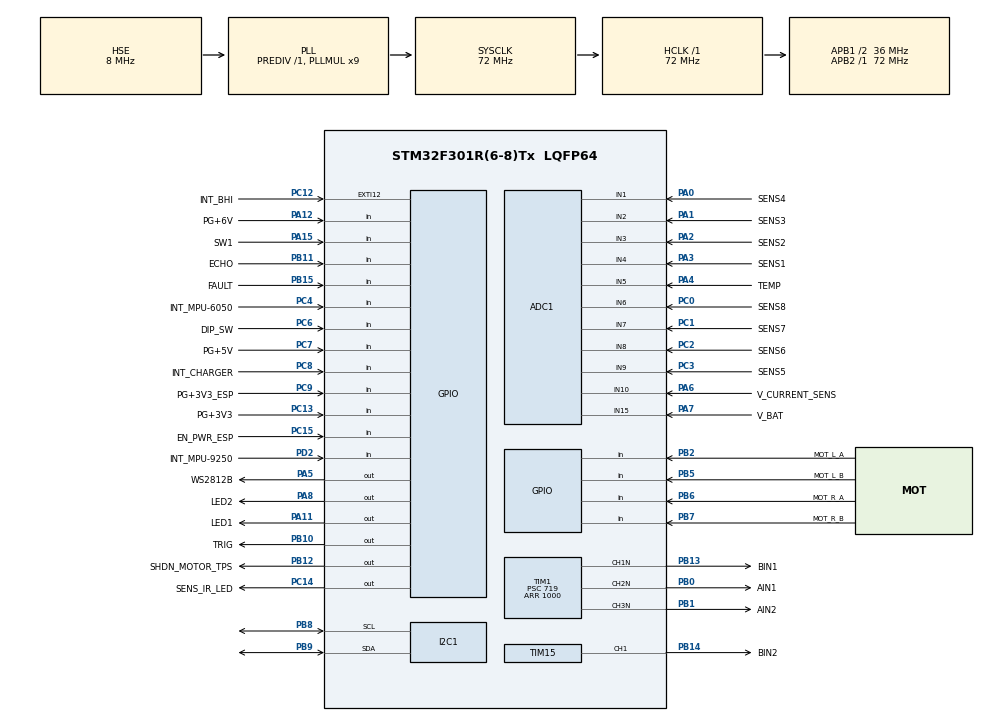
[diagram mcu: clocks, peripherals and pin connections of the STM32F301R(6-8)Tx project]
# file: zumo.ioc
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ADC1.Channel-0\#ChannelRegularConversion=ADC_CHANNEL_4
ADC1.Channel-10\#ChannelRegularConversion=ADC_CHANNEL_10
ADC1.Channel-11\#ChannelRegularConversion=ADC_CHANNEL_15
ADC1.Channel-2\#ChannelRegularConversion=ADC_CHANNEL_3
ADC1.Channel-3\#ChannelRegularConversion=ADC_CHANNEL_2
ADC1.Channel-4\#ChannelRegularConversion=ADC_CHANNEL_1
ADC1.Channel-5\#ChannelRegularConversion=ADC_CHANNEL_9
ADC1.Channel-6\#ChannelRegularConversion=ADC_CHANNEL_8
ADC1.Channel-7\#ChannelRegularConversion=ADC_CHANNEL_7
ADC1.Channel-8\#ChannelRegularConversion=ADC_CHANNEL_6
ADC1.Channel-9\#ChannelRegularConversion=ADC_CHANNEL_5
ADC1.ContinuousConvMode=ENABLE
ADC1.EOCSelection=ADC_EOC_SEQ_CONV
ADC1.InjNumberOfConversion=1
ADC1.InjectedChannel-1\#ChannelInjectedConversion=ADC_CHANNEL_1
ADC1.InjectedOffset-1\#ChannelInjectedConversion=0
ADC1.InjectedOffsetNumber-1\#ChannelInjectedConversion=ADC_OFFSET_NONE
ADC1.InjectedRank-1\#ChannelInjectedConversion=1
ADC1.InjectedSamplingTime-1\#ChannelInjectedConversion=ADC_SAMPLETIME_1CYCLE_5
ADC1.NbrOfConversion=11
ADC1.NbrOfConversionFlag=1
ADC1.Offset-0\#ChannelRegularConversion=0
ADC1.Offset-10\#ChannelRegularConversion=0
ADC1.Offset-11\#ChannelRegularConversion=0
ADC1.Offset-2\#ChannelRegularConversion=0
ADC1.Offset-3\#ChannelRegularConversion=0
ADC1.Offset-4\#ChannelRegularConversion=0
ADC1.Offset-5\#ChannelRegularConversion=0
ADC1.Offset-6\#ChannelRegularConversion=0
ADC1.Offset-7\#ChannelRegularConversion=0
ADC1.Offset-8\#ChannelRegularConversion=0
ADC1.Offset-9\#ChannelRegularConversion=0
ADC1.OffsetNumber-0\#ChannelRegularConversion=ADC_OFFSET_NONE
ADC1.OffsetNumber-10\#ChannelRegularConversion=ADC_OFFSET_NONE
ADC1.OffsetNumber-11\#ChannelRegularConversion=ADC_OFFSET_NONE
ADC1.OffsetNumber-2\#ChannelRegularConversion=ADC_OFFSET_NONE
ADC1.OffsetNumber-3\#ChannelRegularConversion=ADC_OFFSET_NONE
ADC1.OffsetNumber-4\#ChannelRegularConversion=ADC_OFFSET_NONE
ADC1.OffsetNumber-5\#ChannelRegularConversion=ADC_OFFSET_NONE
ADC1.OffsetNumber-6\#ChannelRegularConversion=ADC_OFFSET_NONE
ADC1.OffsetNumber-7\#ChannelRegularConversion=ADC_OFFSET_NONE
ADC1.OffsetNumber-8\#ChannelRegularConversion=ADC_OFFSET_NONE
ADC1.OffsetNumber-9\#ChannelRegularConversion=ADC_OFFSET_NONE
ADC1.Rank-0\#ChannelRegularConversion=1
ADC1.Rank-10\#ChannelRegularConversion=10
ADC1.Rank-11\#ChannelRegularConversion=11
ADC1.Rank-2\#ChannelRegularConversion=2
ADC1.Rank-3\#ChannelRegularConversion=3
ADC1.Rank-4\#ChannelRegularConversion=4
ADC1.Rank-5\#ChannelRegularConversion=5
ADC1.Rank-6\#ChannelRegularConversion=6
ADC1.Rank-7\#ChannelRegularConversion=7
ADC1.Rank-8\#ChannelRegularConversion=8
ADC1.Rank-9\#ChannelRegularConversion=9
ADC1.SamplingTime-0\#ChannelRegularConversion=ADC_SAMPLETIME_181CYCLES_5
ADC1.SamplingTime-10\#ChannelRegularConversion=ADC_SAMPLETIME_181CYCLES_5
ADC1.SamplingTime-11\#ChannelRegularConversion=ADC_SAMPLETIME_181CYCLES_5
ADC1.SamplingTime-2\#ChannelRegularConversion=ADC_SAMPLETIME_181CYCLES_5
ADC1.SamplingTime-3\#ChannelRegularConversion=ADC_SAMPLETIME_181CYCLES_5
ADC1.SamplingTime-4\#ChannelRegularConversion=ADC_SAMPLETIME_181CYCLES_5
ADC1.SamplingTime-5\#ChannelRegularConversion=ADC_SAMPLETIME_181CYCLES_5
ADC1.SamplingTime-6\#ChannelRegularConversion=ADC_SAMPLETIME_181CYCLES_5
ADC1.SamplingTime-7\#ChannelRegularConversion=ADC_SAMPLETIME_181CYCLES_5
ADC1.SamplingTime-8\#ChannelRegularConversion=ADC_SAMPLETIME_181CYCLES_5
ADC1.SamplingTime-9\#ChannelRegularConversion=ADC_SAMPLETIME_181CYCLES_5
ADC1.SubFamily=STM32F301x8
ADC1.master=1
Dma.ADC1.0.Direction=DMA_PERIPH_TO_MEMORY
Dma.ADC1.0.Instance=DMA1_Channel1
Dma.ADC1.0.MemDataAlignment=DMA_MDATAALIGN_HALFWORD
Dma.ADC1.0.MemInc=DMA_MINC_ENABLE
Dma.ADC1.0.Mode=DMA_CIRCULAR
Dma.ADC1.0.PeriphDataAlignment=DMA_PDATAALIGN_HALFWORD
Dma.ADC1.0.PeriphInc=DMA_PINC_DISABLE
Dma.ADC1.0.Priority=DMA_PRIORITY_LOW
Dma.Request0=ADC1
Mcu.Family=STM32F3
Mcu.Name=STM32F301R(6-8)Tx
Mcu.Package=LQFP64
NVIC.DMA1_Channel1_IRQn=true\:0\:0\:false\:false\:true\:false\:true
NVIC.EXTI15_10_IRQn=true\:0\:0\:false\:false\:true\:true\:true
NVIC.PriorityGroup=NVIC_PRIORITYGROUP_4
NVIC.TIM2_IRQn=true\:0\:0\:false\:false\:true\:true\:true
PA0.GPIO_Label=SENS4
PA0.Mode=IN1-Single-Ended
PA0.Signal=ADC1_IN1
PA1.GPIO_Label=SENS3
PA1.Mode=IN2-Single-Ended
PA1.Signal=ADC1_IN2
PA11.GPIO_Label=LED1
PA11.Signal=GPIO_Output
PA12.GPIO_Label=PG+6V
PA12.Signal=GPIO_Input
PA13.Mode=Serial_Wire
PA13.Signal=SYS_JTMS-SWDIO
PA14.Mode=Serial_Wire
PA14.Signal=SYS_JTCK-SWCLK
PA15.GPIO_Label=SW1
PA15.Signal=GPIO_Input
PA2.GPIO_Label=SENS2
PA2.Mode=IN3-Single-Ended
PA2.Signal=ADC1_IN3
PA3.GPIO_Label=SENS1
PA3.Mode=IN4-Single-Ended
PA3.Signal=ADC1_IN4
PA4.GPIO_Label=TEMP
PA4.Mode=IN5-Single-Ended
PA4.Signal=ADC1_IN5
PA5.GPIO_Label=WS2812B
PA5.Signal=GPIO_Output
PA6.GPIO_Label=V_CURRENT_SENS
PA6.Signal=ADCx_IN10
PA7.GPIO_Label=V_BAT
PA7.Mode=IN15-Single-Ended
PA7.Signal=ADC1_IN15
PA8.GPIO_Label=LED2
PA8.Signal=GPIO_Output
PB0.GPIO_Label=AIN1
PB0.Mode=PWM Generation2 CH2N
PB0.Signal=TIM1_CH2N
PB1.GPIO_Label=AIN2
PB1.Mode=PWM Generation3 CH3N
PB1.Signal=TIM1_CH3N
PB10.GPIO_Label=TRIG
PB10.Signal=GPIO_Output
PB11.GPIO_Label=ECHO
PB11.Signal=GPIO_Input
PB12.GPIO_Label=SHDN_MOTOR_TPS
PB12.Signal=GPIO_Output
PB13.GPIO_Label=BIN1
PB13.Mode=PWM Generation1 CH1N
PB13.Signal=TIM1_CH1N
PB14.GPIO_Label=BIN2
PB14.Signal=S_TIM15_CH1
PB15.GPIO_Label=FAULT
PB15.Signal=GPIO_Input
PB2.GPIO_Label=MOT_L_A
PB2.Signal=GPIO_Input
PB5.GPIO_Label=MOT_L_B
PB5.Signal=GPIO_Input
PB6.GPIO_Label=MOT_R_A
PB6.Signal=GPIO_Input
PB7.GPIO_Label=MOT_R_B
PB7.Signal=GPIO_Input
PB8.Mode=I2C
PB8.Signal=I2C1_SCL
PB9.Mode=I2C
PB9.Signal=I2C1_SDA
PC0.GPIO_Label=SENS8
PC0.Signal=ADCx_IN6
PC1.GPIO_Label=SENS7
PC1.Signal=ADCx_IN7
PC12.GPIO_Label=INT_BHI
PC12.GPIO_ModeDefaultEXTI=GPIO_MODE_IT_RISING
PC12.GPIO_PuPd=GPIO_PULLUP
PC12.Signal=GPXTI12
PC13.GPIO_Label=PG+3V3
PC13.Signal=GPIO_Input
PC14\ -\ OSC32_IN.GPIO_Label=SENS_IR_LED
PC14\ -\ OSC32_IN.Signal=GPIO_Output
PC15\ -\ OSC32_OUT.GPIO_Label=EN_PWR_ESP
PC15\ -\ OSC32_OUT.Signal=GPIO_Input
PC2.GPIO_Label=SENS6
PC2.Signal=ADCx_IN8
PC3.GPIO_Label=SENS5
PC3.Signal=ADCx_IN9
PC4.GPIO_Label=INT_MPU-6050
PC4.Signal=GPIO_Input
PC6.GPIO_Label=DIP_SW
PC6.Signal=GPIO_Input
PC7.GPIO_Label=PG+5V
PC7.Signal=GPIO_Input
PC8.GPIO_Label=INT_CHARGER
PC8.Signal=GPIO_Input
PC9.GPIO_Label=PG+3V3_ESP
PC9.Signal=GPIO_Input
PD2.GPIO_Label=INT_MPU-9250
PD2.Signal=GPIO_Input
PF0-OSC_IN.Mode=HSE-External-Oscillator
PF0-OSC_IN.Signal=RCC_OSC_IN
PF1-OSC_OUT.Mode=HSE-External-Oscillator
PF1-OSC_OUT.Signal=RCC_OSC_OUT
ProjectManager.HeapSize=0x400
ProjectManager.StackSize=0x800
ProjectManager.TargetToolchain=Makefile
RCC.AHBFreq_Value=72000000
RCC.APB1CLKDivider=RCC_HCLK_DIV2
RCC.APB1Freq_Value=36000000
RCC.APB1TimFreq_Value=72000000
RCC.APB2Freq_Value=72000000
RCC.APB2TimFreq_Value=72000000
RCC.CortexFreq_Value=72000000
RCC.HCLKFreq_Value=72000000
RCC.HSE_VALUE=8000000
RCC.HSI_VALUE=8000000
RCC.LSE_VALUE=32768
RCC.PLLMUL=RCC_PLL_MUL9
RCC.PLLSourceVirtual=RCC_PLLSOURCE_HSE
RCC.SYSCLKFreq_VALUE=72000000
RCC.SYSCLKSourceVirtual=RCC_SYSCLKSOURCE_PLLCLK
SH.ADCx_IN10.0=ADC1_IN10,IN10-Single-Ended
SH.ADCx_IN6.0=ADC1_IN6,IN6-Single-Ended
SH.ADCx_IN7.0=ADC1_IN7,IN7-Single-Ended
SH.ADCx_IN8.0=ADC1_IN8,IN8-Single-Ended
SH.ADCx_IN9.0=ADC1_IN9,IN9-Single-Ended
SH.S_TIM15_CH1.0=TIM15_CH1,PWM Generation1 CH1
TIM1.Channel-PWM\ Generation1\ CH1N=TIM_CHANNEL_1
TIM1.Channel-PWM\ Generation2\ CH2N=TIM_CHANNEL_2
TIM1.Channel-PWM\ Generation3\ CH3N=TIM_CHANNEL_3
TIM1.Period=1000
TIM1.Prescaler=719
TIM15.Channel-PWM\ Generation1\ CH1=TIM_CHANNEL_1
TIM15.Period=1000
TIM15.Prescaler=719
TIM2.Period=99
TIM2.Prescaler=71
VP_TIM15_VS_ClockSourceINT.Mode=Internal
VP_TIM1_VS_ClockSourceINT.Mode=Internal
VP_TIM2_VS_ClockSourceINT.Mode=Internal
board=custom

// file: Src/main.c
/* USER CODE BEGIN Header */
/**
  ******************************************************************************
  * @file           : main.c
  * @brief          : Main program body
  ******************************************************************************
  * @attention
  *
  * <h2><center>&copy; Copyright (c) 2020 STMicroelectronics.
  * All rights reserved.</center></h2>
  *
  * This software component is licensed by ST under BSD 3-Clause license,
  * the "License"; You may not use this file except in compliance with the
  * License. You may obtain a copy of the License at:
  *                        opensource.org/licenses/BSD-3-Clause
  *
  ******************************************************************************
  */
/* USER CODE END Header */

#include "main.h"

ADC_HandleTypeDef hadc1;
DMA_HandleTypeDef hdma_adc1;

I2C_HandleTypeDef hi2c1;

TIM_HandleTypeDef htim1;
TIM_HandleTypeDef htim2;
TIM_HandleTypeDef htim15;

void SystemClock_Config(void);
static void MX_GPIO_Init(void);
static void MX_DMA_Init(void);
static void MX_ADC1_Init(void);
static void MX_TIM1_Init(void);
static void MX_I2C1_Init(void);
static void MX_TIM15_Init(void);
static void MX_TIM2_Init(void);

int main(void)
{

  /* MCU Configuration--------------------------------------------------------*/

  /* Reset of all peripherals, Initializes the Flash interface and the Systick. */
  HAL_Init();

  /* Configure the system clock */
  SystemClock_Config();

  /* Initialize all configured peripherals */
  MX_GPIO_Init();
  MX_DMA_Init();
  MX_ADC1_Init();
  MX_TIM1_Init();
  MX_I2C1_Init();
  MX_TIM15_Init();
  MX_TIM2_Init();
  /* USER CODE BEGIN 2 */
    GPIO_InitTypeDef GPIO_InitStruct;
    __HAL_RCC_GPIOB_CLK_ENABLE();
    /**USART2 GPIO Configuration
    PB3     ------> USART2_TX
    PB4     ------> USART2_RX
    */
    GPIO_InitStruct.Pin = GPIO_PIN_3 | GPIO_PIN_4;
    GPIO_InitStruct.Mode = GPIO_MODE_AF_PP;
    GPIO_InitStruct.Pull = GPIO_NOPULL;
    GPIO_InitStruct.Speed = GPIO_SPEED_FREQ_HIGH;
    GPIO_InitStruct.Alternate = GPIO_AF7_USART2;
    HAL_GPIO_Init(GPIOB, &GPIO_InitStruct);

    __HAL_RCC_GPIOA_CLK_ENABLE();
    /**USART1 GPIO Configuration
    PA9     ------> USART1_TX
    PA10     ------> USART1_RX
    */
    GPIO_InitStruct.Pin = GPIO_PIN_9|GPIO_PIN_10;
    GPIO_InitStruct.Mode = GPIO_MODE_AF_PP;
    GPIO_InitStruct.Pull = GPIO_NOPULL;
    GPIO_InitStruct.Speed = GPIO_SPEED_FREQ_HIGH;
    GPIO_InitStruct.Alternate = GPIO_AF7_USART1;
    HAL_GPIO_Init(GPIOA, &GPIO_InitStruct);

    __HAL_RCC_GPIOC_CLK_ENABLE();
    /**USART3 GPIO Configuration
    PC10     ------> USART3_TX
    PC11     ------> USART3_RX
    */
    GPIO_InitStruct.Pin = GPIO_PIN_10|GPIO_PIN_11;
    GPIO_InitStruct.Mode = GPIO_MODE_AF_PP;
    GPIO_InitStruct.Pull = GPIO_NOPULL;
    GPIO_InitStruct.Speed = GPIO_SPEED_FREQ_HIGH;
    GPIO_InitStruct.Alternate = GPIO_AF7_USART3;
    HAL_GPIO_Init(GPIOC, &GPIO_InitStruct);

//  uint8_t ddd [] = {'s', 'u', 'p', 'e', 'r'};
//  HAL_UART_Transmit(&huart2, ddd, 5, 10);
    void Main();
    Main();

  /* USER CODE END 2 */

  /* Infinite loop */
  while (1)
  {

  }
}

void SystemClock_Config(void)
{
  RCC_OscInitTypeDef RCC_OscInitStruct = {0};
  RCC_ClkInitTypeDef RCC_ClkInitStruct = {0};
  RCC_PeriphCLKInitTypeDef PeriphClkInit = {0};

  /** Initializes the CPU, AHB and APB busses clocks
  */
  RCC_OscInitStruct.OscillatorType = RCC_OSCILLATORTYPE_HSI|RCC_OSCILLATORTYPE_HSE;
  RCC_OscInitStruct.HSEState = RCC_HSE_ON;
  RCC_OscInitStruct.HSEPredivValue = RCC_HSE_PREDIV_DIV1;
  RCC_OscInitStruct.HSIState = RCC_HSI_ON;
  RCC_OscInitStruct.HSICalibrationValue = RCC_HSICALIBRATION_DEFAULT;
  RCC_OscInitStruct.PLL.PLLState = RCC_PLL_ON;
  RCC_OscInitStruct.PLL.PLLSource = RCC_PLLSOURCE_HSE;
  RCC_OscInitStruct.PLL.PLLMUL = RCC_PLL_MUL9;
  if (HAL_RCC_OscConfig(&RCC_OscInitStruct) != HAL_OK)
  {
    Error_Handler();
  }
  /** Initializes the CPU, AHB and APB busses clocks
  */
  RCC_ClkInitStruct.ClockType = RCC_CLOCKTYPE_HCLK|RCC_CLOCKTYPE_SYSCLK
                              |RCC_CLOCKTYPE_PCLK1|RCC_CLOCKTYPE_PCLK2;
  RCC_ClkInitStruct.SYSCLKSource = RCC_SYSCLKSOURCE_PLLCLK;
  RCC_ClkInitStruct.AHBCLKDivider = RCC_SYSCLK_DIV1;
  RCC_ClkInitStruct.APB1CLKDivider = RCC_HCLK_DIV2;
  RCC_ClkInitStruct.APB2CLKDivider = RCC_HCLK_DIV1;

  if (HAL_RCC_ClockConfig(&RCC_ClkInitStruct, FLASH_LATENCY_2) != HAL_OK)
  {
    Error_Handler();
  }
  PeriphClkInit.PeriphClockSelection = RCC_PERIPHCLK_I2C1|RCC_PERIPHCLK_TIM1
                              |RCC_PERIPHCLK_TIM15|RCC_PERIPHCLK_ADC1;
  PeriphClkInit.I2c1ClockSelection = RCC_I2C1CLKSOURCE_HSI;
  PeriphClkInit.Tim1ClockSelection = RCC_TIM1CLK_HCLK;
  PeriphClkInit.Tim15ClockSelection = RCC_TIM15CLK_HCLK;
  PeriphClkInit.Adc1ClockSelection = RCC_ADC1PLLCLK_DIV1;

  if (HAL_RCCEx_PeriphCLKConfig(&PeriphClkInit) != HAL_OK)
  {
    Error_Handler();
  }
}

static void MX_ADC1_Init(void)
{

  ADC_ChannelConfTypeDef sConfig = {0};
  ADC_InjectionConfTypeDef sConfigInjected = {0};

  /** Common config
  */
  hadc1.Instance = ADC1;
  hadc1.Init.ClockPrescaler = ADC_CLOCK_ASYNC_DIV1;
  hadc1.Init.Resolution = ADC_RESOLUTION_12B;
  hadc1.Init.ScanConvMode = ADC_SCAN_ENABLE;
  hadc1.Init.ContinuousConvMode = ENABLE;
  hadc1.Init.DiscontinuousConvMode = DISABLE;
  hadc1.Init.ExternalTrigConvEdge = ADC_EXTERNALTRIGCONVEDGE_NONE;
  hadc1.Init.ExternalTrigConv = ADC_SOFTWARE_START;
  hadc1.Init.DataAlign = ADC_DATAALIGN_RIGHT;
  hadc1.Init.NbrOfConversion = 11;
  hadc1.Init.DMAContinuousRequests = DISABLE;
  hadc1.Init.EOCSelection = ADC_EOC_SEQ_CONV;
  hadc1.Init.LowPowerAutoWait = DISABLE;
  hadc1.Init.Overrun = ADC_OVR_DATA_OVERWRITTEN;
  if (HAL_ADC_Init(&hadc1) != HAL_OK)
  {
    Error_Handler();
  }
  /** Configure Regular Channel
  */
  sConfig.Channel = ADC_CHANNEL_4;
  sConfig.Rank = ADC_REGULAR_RANK_1;
  sConfig.SingleDiff = ADC_SINGLE_ENDED;
  sConfig.SamplingTime = ADC_SAMPLETIME_181CYCLES_5;
  sConfig.OffsetNumber = ADC_OFFSET_NONE;
  sConfig.Offset = 0;
  if (HAL_ADC_ConfigChannel(&hadc1, &sConfig) != HAL_OK)
  {
    Error_Handler();
  }
  /** Configure Regular Channel
  */
  sConfig.Channel = ADC_CHANNEL_3;
  sConfig.Rank = ADC_REGULAR_RANK_2;
  if (HAL_ADC_ConfigChannel(&hadc1, &sConfig) != HAL_OK)
  {
    Error_Handler();
  }
  /** Configure Regular Channel
  */
  sConfig.Channel = ADC_CHANNEL_2;
  sConfig.Rank = ADC_REGULAR_RANK_3;
  if (HAL_ADC_ConfigChannel(&hadc1, &sConfig) != HAL_OK)
  {
    Error_Handler();
  }
  /** Configure Regular Channel
  */
  sConfig.Channel = ADC_CHANNEL_1;
  sConfig.Rank = ADC_REGULAR_RANK_4;
  if (HAL_ADC_ConfigChannel(&hadc1, &sConfig) != HAL_OK)
  {
    Error_Handler();
  }
  /** Configure Regular Channel
  */
  sConfig.Channel = ADC_CHANNEL_9;
  sConfig.Rank = ADC_REGULAR_RANK_5;
  if (HAL_ADC_ConfigChannel(&hadc1, &sConfig) != HAL_OK)
  {
    Error_Handler();
  }
  /** Configure Regular Channel
  */
  sConfig.Channel = ADC_CHANNEL_8;
  sConfig.Rank = ADC_REGULAR_RANK_6;
  if (HAL_ADC_ConfigChannel(&hadc1, &sConfig) != HAL_OK)
  {
    Error_Handler();
  }
  /** Configure Regular Channel
  */
  sConfig.Channel = ADC_CHANNEL_7;
  sConfig.Rank = ADC_REGULAR_RANK_7;
  if (HAL_ADC_ConfigChannel(&hadc1, &sConfig) != HAL_OK)
  {
    Error_Handler();
  }
  /** Configure Regular Channel
  */
  sConfig.Channel = ADC_CHANNEL_6;
  sConfig.Rank = ADC_REGULAR_RANK_8;
  if (HAL_ADC_ConfigChannel(&hadc1, &sConfig) != HAL_OK)
  {
    Error_Handler();
  }
  /** Configure Regular Channel
  */
  sConfig.Channel = ADC_CHANNEL_5;
  sConfig.Rank = ADC_REGULAR_RANK_9;
  if (HAL_ADC_ConfigChannel(&hadc1, &sConfig) != HAL_OK)
  {
    Error_Handler();
  }
  /** Configure Regular Channel
  */
  sConfig.Channel = ADC_CHANNEL_10;
  sConfig.Rank = ADC_REGULAR_RANK_10;
  if (HAL_ADC_ConfigChannel(&hadc1, &sConfig) != HAL_OK)
  {
    Error_Handler();
  }
  /** Configure Regular Channel
  */
  sConfig.Channel = ADC_CHANNEL_15;
  sConfig.Rank = ADC_REGULAR_RANK_11;
  if (HAL_ADC_ConfigChannel(&hadc1, &sConfig) != HAL_OK)
  {
    Error_Handler();
  }
  /** Configure Injected Channel
  */
  sConfigInjected.InjectedChannel = ADC_CHANNEL_1;
  sConfigInjected.InjectedRank = ADC_INJECTED_RANK_1;
  sConfigInjected.InjectedSingleDiff = ADC_SINGLE_ENDED;
  sConfigInjected.InjectedNbrOfConversion = 1;
  sConfigInjected.InjectedSamplingTime = ADC_SAMPLETIME_1CYCLE_5;
  sConfigInjected.ExternalTrigInjecConvEdge = ADC_EXTERNALTRIGINJECCONV_EDGE_NONE;
  sConfigInjected.ExternalTrigInjecConv = ADC_INJECTED_SOFTWARE_START;
  sConfigInjected.AutoInjectedConv = DISABLE;
  sConfigInjected.InjectedDiscontinuousConvMode = DISABLE;
  sConfigInjected.QueueInjectedContext = DISABLE;
  sConfigInjected.InjectedOffset = 0;
  sConfigInjected.InjectedOffsetNumber = ADC_OFFSET_NONE;
  if (HAL_ADCEx_InjectedConfigChannel(&hadc1, &sConfigInjected) != HAL_OK)
  {
    Error_Handler();
  }

}

static void MX_I2C1_Init(void)
{

  hi2c1.Instance = I2C1;
  hi2c1.Init.Timing = 0x2000090E;
  hi2c1.Init.OwnAddress1 = 0;
  hi2c1.Init.AddressingMode = I2C_ADDRESSINGMODE_7BIT;
  hi2c1.Init.DualAddressMode = I2C_DUALADDRESS_DISABLE;
  hi2c1.Init.OwnAddress2 = 0;
  hi2c1.Init.OwnAddress2Masks = I2C_OA2_NOMASK;
  hi2c1.Init.GeneralCallMode = I2C_GENERALCALL_DISABLE;
  hi2c1.Init.NoStretchMode = I2C_NOSTRETCH_DISABLE;
  if (HAL_I2C_Init(&hi2c1) != HAL_OK)
  {
    Error_Handler();
  }
  /** Configure Analogue filter
  */
  if (HAL_I2CEx_ConfigAnalogFilter(&hi2c1, I2C_ANALOGFILTER_ENABLE) != HAL_OK)
  {
    Error_Handler();
  }
  /** Configure Digital filter
  */
  if (HAL_I2CEx_ConfigDigitalFilter(&hi2c1, 0) != HAL_OK)
  {
    Error_Handler();
  }

}

static void MX_TIM1_Init(void)
{

  TIM_ClockConfigTypeDef sClockSourceConfig = {0};
  TIM_MasterConfigTypeDef sMasterConfig = {0};
  TIM_OC_InitTypeDef sConfigOC = {0};
  TIM_BreakDeadTimeConfigTypeDef sBreakDeadTimeConfig = {0};

  htim1.Instance = TIM1;
  htim1.Init.Prescaler = 719;
  htim1.Init.CounterMode = TIM_COUNTERMODE_UP;
  htim1.Init.Period = 1000;
  htim1.Init.ClockDivision = TIM_CLOCKDIVISION_DIV1;
  htim1.Init.RepetitionCounter = 0;
  htim1.Init.AutoReloadPreload = TIM_AUTORELOAD_PRELOAD_DISABLE;
  if (HAL_TIM_Base_Init(&htim1) != HAL_OK)
  {
    Error_Handler();
  }
  sClockSourceConfig.ClockSource = TIM_CLOCKSOURCE_INTERNAL;
  if (HAL_TIM_ConfigClockSource(&htim1, &sClockSourceConfig) != HAL_OK)
  {
    Error_Handler();
  }
  if (HAL_TIM_PWM_Init(&htim1) != HAL_OK)
  {
    Error_Handler();
  }
  sMasterConfig.MasterOutputTrigger = TIM_TRGO_RESET;
  sMasterConfig.MasterOutputTrigger2 = TIM_TRGO2_RESET;
  sMasterConfig.MasterSlaveMode = TIM_MASTERSLAVEMODE_DISABLE;
  if (HAL_TIMEx_MasterConfigSynchronization(&htim1, &sMasterConfig) != HAL_OK)
  {
    Error_Handler();
  }
  sConfigOC.OCMode = TIM_OCMODE_PWM1;
  sConfigOC.Pulse = 0;
  sConfigOC.OCPolarity = TIM_OCPOLARITY_HIGH;
  sConfigOC.OCNPolarity = TIM_OCNPOLARITY_HIGH;
  sConfigOC.OCFastMode = TIM_OCFAST_DISABLE;
  sConfigOC.OCIdleState = TIM_OCIDLESTATE_RESET;
  sConfigOC.OCNIdleState = TIM_OCNIDLESTATE_RESET;
  if (HAL_TIM_PWM_ConfigChannel(&htim1, &sConfigOC, TIM_CHANNEL_1) != HAL_OK)
  {
    Error_Handler();
  }
  if (HAL_TIM_PWM_ConfigChannel(&htim1, &sConfigOC, TIM_CHANNEL_2) != HAL_OK)
  {
    Error_Handler();
  }
  if (HAL_TIM_PWM_ConfigChannel(&htim1, &sConfigOC, TIM_CHANNEL_3) != HAL_OK)
  {
    Error_Handler();
  }
  sBreakDeadTimeConfig.OffStateRunMode = TIM_OSSR_DISABLE;
  sBreakDeadTimeConfig.OffStateIDLEMode = TIM_OSSI_DISABLE;
  sBreakDeadTimeConfig.LockLevel = TIM_LOCKLEVEL_OFF;
  sBreakDeadTimeConfig.DeadTime = 0;
  sBreakDeadTimeConfig.BreakState = TIM_BREAK_DISABLE;
  sBreakDeadTimeConfig.BreakPolarity = TIM_BREAKPOLARITY_HIGH;
  sBreakDeadTimeConfig.BreakFilter = 0;
  sBreakDeadTimeConfig.Break2State = TIM_BREAK2_DISABLE;
  sBreakDeadTimeConfig.Break2Polarity = TIM_BREAK2POLARITY_HIGH;
  sBreakDeadTimeConfig.Break2Filter = 0;
  sBreakDeadTimeConfig.AutomaticOutput = TIM_AUTOMATICOUTPUT_DISABLE;
  if (HAL_TIMEx_ConfigBreakDeadTime(&htim1, &sBreakDeadTimeConfig) != HAL_OK)
  {
    Error_Handler();
  }
  HAL_TIM_MspPostInit(&htim1);

}

static void MX_TIM2_Init(void)
{

  TIM_ClockConfigTypeDef sClockSourceConfig = {0};
  TIM_MasterConfigTypeDef sMasterConfig = {0};

  htim2.Instance = TIM2;
  htim2.Init.Prescaler = 71;
  htim2.Init.CounterMode = TIM_COUNTERMODE_UP;
  htim2.Init.Period = 99;
  htim2.Init.ClockDivision = TIM_CLOCKDIVISION_DIV1;
  htim2.Init.AutoReloadPreload = TIM_AUTORELOAD_PRELOAD_DISABLE;
  if (HAL_TIM_Base_Init(&htim2) != HAL_OK)
  {
    Error_Handler();
  }
  sClockSourceConfig.ClockSource = TIM_CLOCKSOURCE_INTERNAL;
  if (HAL_TIM_ConfigClockSource(&htim2, &sClockSourceConfig) != HAL_OK)
  {
    Error_Handler();
  }
  sMasterConfig.MasterOutputTrigger = TIM_TRGO_RESET;
  sMasterConfig.MasterSlaveMode = TIM_MASTERSLAVEMODE_DISABLE;
  if (HAL_TIMEx_MasterConfigSynchronization(&htim2, &sMasterConfig) != HAL_OK)
  {
    Error_Handler();
  }

}

static void MX_TIM15_Init(void)
{

  TIM_ClockConfigTypeDef sClockSourceConfig = {0};
  TIM_MasterConfigTypeDef sMasterConfig = {0};
  TIM_OC_InitTypeDef sConfigOC = {0};
  TIM_BreakDeadTimeConfigTypeDef sBreakDeadTimeConfig = {0};

  htim15.Instance = TIM15;
  htim15.Init.Prescaler = 719;
  htim15.Init.CounterMode = TIM_COUNTERMODE_UP;
  htim15.Init.Period = 1000;
  htim15.Init.ClockDivision = TIM_CLOCKDIVISION_DIV1;
  htim15.Init.RepetitionCounter = 0;
  htim15.Init.AutoReloadPreload = TIM_AUTORELOAD_PRELOAD_DISABLE;
  if (HAL_TIM_Base_Init(&htim15) != HAL_OK)
  {
    Error_Handler();
  }
  sClockSourceConfig.ClockSource = TIM_CLOCKSOURCE_INTERNAL;
  if (HAL_TIM_ConfigClockSource(&htim15, &sClockSourceConfig) != HAL_OK)
  {
    Error_Handler();
  }
  if (HAL_TIM_PWM_Init(&htim15) != HAL_OK)
  {
    Error_Handler();
  }
  sMasterConfig.MasterOutputTrigger = TIM_TRGO_RESET;
  sMasterConfig.MasterSlaveMode = TIM_MASTERSLAVEMODE_DISABLE;
  if (HAL_TIMEx_MasterConfigSynchronization(&htim15, &sMasterConfig) != HAL_OK)
  {
    Error_Handler();
  }
  sConfigOC.OCMode = TIM_OCMODE_PWM1;
  sConfigOC.Pulse = 0;
  sConfigOC.OCPolarity = TIM_OCPOLARITY_HIGH;
  sConfigOC.OCNPolarity = TIM_OCNPOLARITY_HIGH;
  sConfigOC.OCFastMode = TIM_OCFAST_DISABLE;
  sConfigOC.OCIdleState = TIM_OCIDLESTATE_RESET;
  sConfigOC.OCNIdleState = TIM_OCNIDLESTATE_RESET;
  if (HAL_TIM_PWM_ConfigChannel(&htim15, &sConfigOC, TIM_CHANNEL_1) != HAL_OK)
  {
    Error_Handler();
  }
  sBreakDeadTimeConfig.OffStateRunMode = TIM_OSSR_DISABLE;
  sBreakDeadTimeConfig.OffStateIDLEMode = TIM_OSSI_DISABLE;
  sBreakDeadTimeConfig.LockLevel = TIM_LOCKLEVEL_OFF;
  sBreakDeadTimeConfig.DeadTime = 0;
  sBreakDeadTimeConfig.BreakState = TIM_BREAK_DISABLE;
  sBreakDeadTimeConfig.BreakPolarity = TIM_BREAKPOLARITY_HIGH;
  sBreakDeadTimeConfig.BreakFilter = 0;
  sBreakDeadTimeConfig.AutomaticOutput = TIM_AUTOMATICOUTPUT_DISABLE;
  if (HAL_TIMEx_ConfigBreakDeadTime(&htim15, &sBreakDeadTimeConfig) != HAL_OK)
  {
    Error_Handler();
  }
  HAL_TIM_MspPostInit(&htim15);

}

static void MX_DMA_Init(void)
{

  /* DMA controller clock enable */
  __HAL_RCC_DMA1_CLK_ENABLE();

  /* DMA interrupt init */
  /* DMA1_Channel1_IRQn interrupt configuration */
  HAL_NVIC_SetPriority(DMA1_Channel1_IRQn, 0, 0);
  HAL_NVIC_EnableIRQ(DMA1_Channel1_IRQn);

}

static void MX_GPIO_Init(void)
{
  GPIO_InitTypeDef GPIO_InitStruct = {0};

  /* GPIO Ports Clock Enable */
  __HAL_RCC_GPIOC_CLK_ENABLE();
  __HAL_RCC_GPIOF_CLK_ENABLE();
  __HAL_RCC_GPIOA_CLK_ENABLE();
  __HAL_RCC_GPIOB_CLK_ENABLE();
  __HAL_RCC_GPIOD_CLK_ENABLE();

  /*Configure GPIO pin Output Level */
  HAL_GPIO_WritePin(SENS_IR_LED_GPIO_Port, SENS_IR_LED_Pin, GPIO_PIN_RESET);

  /*Configure GPIO pin Output Level */
  HAL_GPIO_WritePin(GPIOA, WS2812B_Pin|LED2_Pin|LED1_Pin, GPIO_PIN_RESET);

  /*Configure GPIO pin Output Level */
  HAL_GPIO_WritePin(GPIOB, TRIG_Pin|SHDN_MOTOR_TPS_Pin, GPIO_PIN_RESET);

  /*Configure GPIO pins : PG_3V3_Pin EN_PWR_ESP_Pin INT_MPU_6050_Pin DIP_SW_Pin
                           PG_5V_Pin INT_CHARGER_Pin PG_3V3_ESP_Pin */
  GPIO_InitStruct.Pin = PG_3V3_Pin|EN_PWR_ESP_Pin|INT_MPU_6050_Pin|DIP_SW_Pin
                          |PG_5V_Pin|INT_CHARGER_Pin|PG_3V3_ESP_Pin;
  GPIO_InitStruct.Mode = GPIO_MODE_INPUT;
  GPIO_InitStruct.Pull = GPIO_NOPULL;
  HAL_GPIO_Init(GPIOC, &GPIO_InitStruct);

  /*Configure GPIO pin : SENS_IR_LED_Pin */
  GPIO_InitStruct.Pin = SENS_IR_LED_Pin;
  GPIO_InitStruct.Mode = GPIO_MODE_OUTPUT_PP;
  GPIO_InitStruct.Pull = GPIO_NOPULL;
  GPIO_InitStruct.Speed = GPIO_SPEED_FREQ_LOW;
  HAL_GPIO_Init(SENS_IR_LED_GPIO_Port, &GPIO_InitStruct);

  /*Configure GPIO pins : WS2812B_Pin LED2_Pin LED1_Pin */
  GPIO_InitStruct.Pin = WS2812B_Pin|LED2_Pin|LED1_Pin;
  GPIO_InitStruct.Mode = GPIO_MODE_OUTPUT_PP;
  GPIO_InitStruct.Pull = GPIO_NOPULL;
  GPIO_InitStruct.Speed = GPIO_SPEED_FREQ_LOW;
  HAL_GPIO_Init(GPIOA, &GPIO_InitStruct);

  /*Configure GPIO pins : MOT_L_A_Pin ECHO_Pin FAULT_Pin MOT_L_B_Pin
                           MOT_R_A_Pin MOT_R_B_Pin */
  GPIO_InitStruct.Pin = MOT_L_A_Pin|ECHO_Pin|FAULT_Pin|MOT_L_B_Pin
                          |MOT_R_A_Pin|MOT_R_B_Pin;
  GPIO_InitStruct.Mode = GPIO_MODE_INPUT;
  GPIO_InitStruct.Pull = GPIO_NOPULL;
  HAL_GPIO_Init(GPIOB, &GPIO_InitStruct);

  /*Configure GPIO pins : TRIG_Pin SHDN_MOTOR_TPS_Pin */
  GPIO_InitStruct.Pin = TRIG_Pin|SHDN_MOTOR_TPS_Pin;
  GPIO_InitStruct.Mode = GPIO_MODE_OUTPUT_PP;
  GPIO_InitStruct.Pull = GPIO_NOPULL;
  GPIO_InitStruct.Speed = GPIO_SPEED_FREQ_LOW;
  HAL_GPIO_Init(GPIOB, &GPIO_InitStruct);

  /*Configure GPIO pins : PG_6V_Pin SW1_Pin */
  GPIO_InitStruct.Pin = PG_6V_Pin|SW1_Pin;
  GPIO_InitStruct.Mode = GPIO_MODE_INPUT;
  GPIO_InitStruct.Pull = GPIO_NOPULL;
  HAL_GPIO_Init(GPIOA, &GPIO_InitStruct);

  /*Configure GPIO pin : INT_BHI_Pin */
  GPIO_InitStruct.Pin = INT_BHI_Pin;
  GPIO_InitStruct.Mode = GPIO_MODE_IT_RISING;
  GPIO_InitStruct.Pull = GPIO_PULLUP;
  HAL_GPIO_Init(INT_BHI_GPIO_Port, &GPIO_InitStruct);

  /*Configure GPIO pin : INT_MPU_9250_Pin */
  GPIO_InitStruct.Pin = INT_MPU_9250_Pin;
  GPIO_InitStruct.Mode = GPIO_MODE_INPUT;
  GPIO_InitStruct.Pull = GPIO_NOPULL;
  HAL_GPIO_Init(INT_MPU_9250_GPIO_Port, &GPIO_InitStruct);

  /* EXTI interrupt init*/
  HAL_NVIC_SetPriority(EXTI15_10_IRQn, 0, 0);
  HAL_NVIC_EnableIRQ(EXTI15_10_IRQn);

}

void Error_Handler(void)
{
}

/************************ (C) COPYRIGHT STMicroelectronics *****END OF FILE****/
